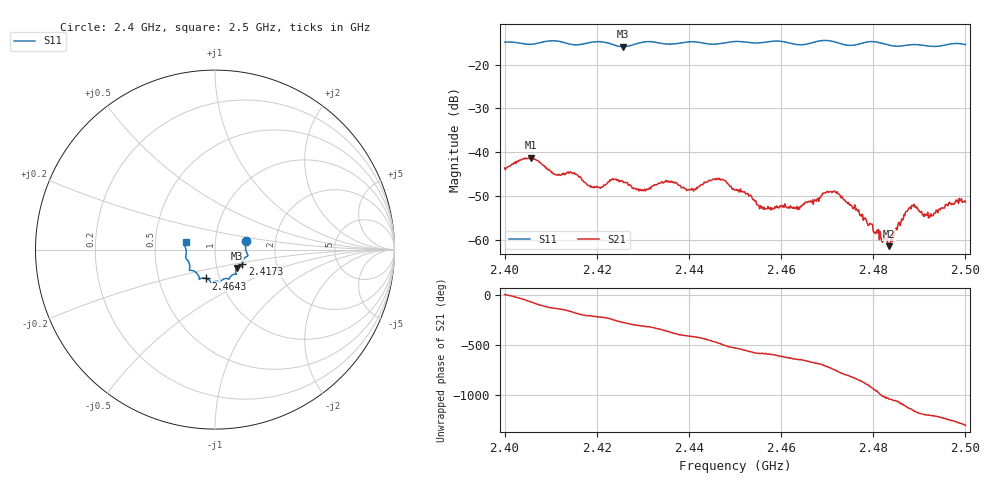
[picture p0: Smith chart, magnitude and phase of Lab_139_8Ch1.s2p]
# Hz S RI R
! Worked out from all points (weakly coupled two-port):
!   601 points, 2.4 GHz to 2.5 GHz, reference 50 ohm
!   highest |S21| = -41.19 dB at 2.4057 GHz (marker M1); lowest = -61.4 dB at 2.4835 GHz (marker M2)
!   lowest |S11| = -15.9 dB at 2.4257 GHz (marker M3), VSWR 1.38, Z = 62.4 - j13.1 ohm
!   |S11| at or under -10 dB: start of sweep to end of sweep
!   S12 and S22 are empty: the file has one direction only
!   S11 on the Smith chart (normalised r, x): 2.4 GHz: 1.41, +0.14; 2.4173 GHz: 1.34, -0.23; 2.4643 GHz: 0.86, -0.28; 2.5 GHz: 0.72, +0.06
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2.4e9  0.1732 0.0497  0.0066 0.000758  0 0  0 0
2.405667e9  0.1702 0.00531  0.00346 -0.00801  0 0  0 0
2.411e9  0.183 -0.0344  -0.0038 -0.00415  0 0  0 0
2.416667e9  0.1528 -0.0747  -0.00486 0.00127  0 0  0 0
2.417333e9  0.1523 -0.082  -0.00428 0.00156  0 0  0 0
2.420833e9  0.1547 -0.0964  -0.00302 0.00246  0 0  0 0
2.423333e9  0.1426 -0.0934  -0.00215 0.00444  0 0  0 0
2.425667e9  0.1225 -0.1022  0.000158 0.00462  0 0  0 0
2.429667e9  0.1173 -0.1349  0.00226 0.00287  0 0  0 0
2.433333e9  0.1127 -0.1365  0.00405 0.00175  0 0  0 0
2.441e9  0.078 -0.1644  0.00197 -0.00304  0 0  0 0
2.4465e9  0.0437 -0.1668  -0.00261 -0.00436  0 0  0 0
2.45e9  0.0298 -0.181  -0.00364 -0.000742  0 0  0 0
2.456333e9  -0.0091 -0.1793  -0.00167 0.00168  0 0  0 0
2.464333e9  -0.0501 -0.1606  0.000641 0.00233  0 0  0 0
2.466667e9  -0.0762 -0.1599  0.00183 0.002  0 0  0 0
2.472e9  -0.0878 -0.1563  0.0028 -0.00197  0 0  0 0
2.483333e9  -0.1408 -0.0895  0.000708 0.000595  0 0  0 0
2.4835e9  -0.141 -0.088  0.000666 0.000534  0 0  0 0
2.488333e9  -0.1615 -0.0492  0.00107 -0.00225  0 0  0 0
2.4925e9  -0.1604 -0.0196  -0.00118 -0.00162  0 0  0 0
2.5e9  -0.1636 0.0419  -0.00191 0.00193  0 0  0 0
